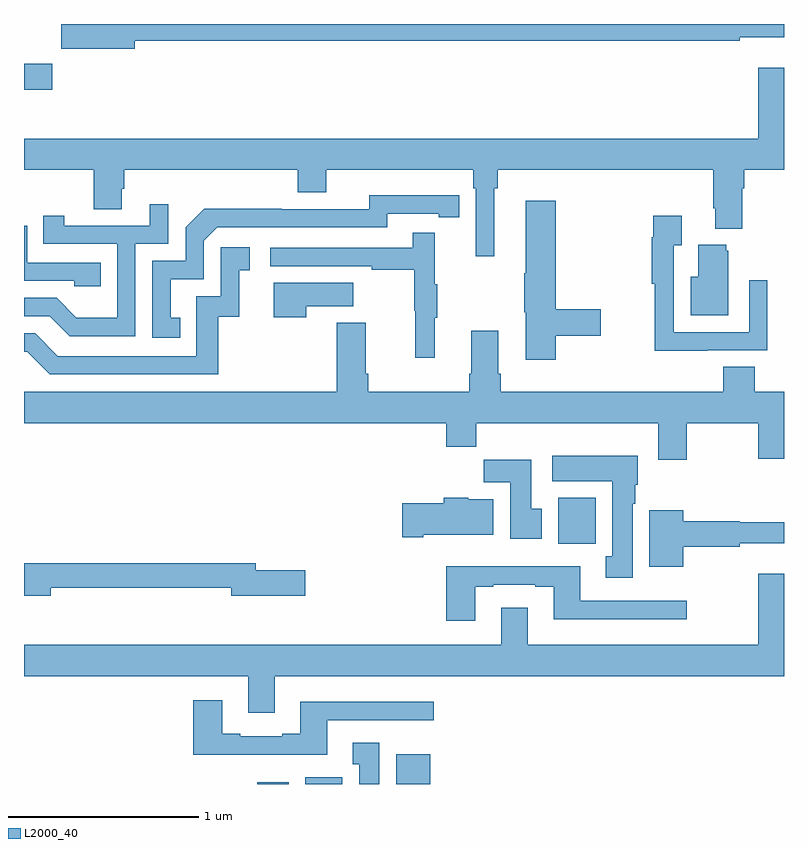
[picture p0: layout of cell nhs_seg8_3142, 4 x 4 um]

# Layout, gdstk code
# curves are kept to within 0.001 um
import gdstk
lib = gdstk.Library(unit=1e-6, precision=1e-09)
def R(c, l, rs):  # rectangles x0, y0, x1, y1
    for r in rs: c.add(gdstk.rectangle(r[:2], r[2:], *l))
def P(c, l, *ps):  # polygons
    for p in ps: c.add(gdstk.Polygon(p, *l))
L2000_40 = (2000, 40)

nhs_seg8_3142 = lib.new_cell('nhs_seg8_3142')
R(nhs_seg8_3142, L2000_40, [(306.227,1147.9,306.394,1147.909), (306.479,1147.9,306.676,1147.936), (306.959,1147.9,307.138,1148.056), (307.811,1149.164,308.008,1149.406), (305,1151.555,305.149,1151.69)])
P(nhs_seg8_3142, L2000_40, [(305.584,1151.812),(308.768,1151.812),(308.768,1151.831),(309,1151.831),(309,1151.9),(305.196,1151.9),(305.196,1151.77),(305.584,1151.77)],
  [(307.474,1151.036),(307.493,1151.036),(307.493,1151.132),(308.627,1151.132),(308.627,1150.93),(308.639,1150.93),(308.639,1150.823),(308.779,1150.823),(308.779,1151.036),(308.792,1151.036),(308.792,1151.132),(309,1151.132),(309,1151.671),(308.864,1151.671),(308.864,1151.296),(305,1151.296),(305,1151.132),(305.368,1151.132),(305.368,1150.924),(305.515,1150.924),(305.515,1151.034),(305.528,1151.034),(305.528,1151.132),(306.44,1151.132),(306.44,1151.015),(306.592,1151.015),(306.592,1151.132),(307.364,1151.132),(307.364,1151.036),(307.377,1151.036),(307.377,1150.677),(307.474,1150.677)],
  [(305.822,1150.353),(305.773,1150.353),(305.773,1150.557),(305.946,1150.557),(305.946,1150.758),(306.018,1150.83),(306.912,1150.83),(306.912,1150.902),(307.184,1150.902),(307.184,1150.882),(307.292,1150.882),(307.292,1150.998),(306.816,1150.999),(306.816,1150.926),(306.356,1150.926),(306.356,1150.928),(305.948,1150.928),(305.85,1150.83),(305.85,1150.653),(305.676,1150.653),(305.676,1150.248),(305.822,1150.248)],
  [(307.799,1150.258),(308.035,1150.258),(308.035,1150.4),(307.799,1150.4),(307.799,1150.969),(307.64,1150.969),(307.64,1150.589),(307.633,1150.589),(307.633,1150.383),(307.64,1150.383),(307.64,1150.134),(307.799,1150.134)],
  [(305.586,1150.743),(305.76,1150.743),(305.76,1150.951),(305.663,1150.951),(305.663,1150.839),(305.212,1150.839),(305.212,1150.891),(305.101,1150.891),(305.101,1150.743),(305.49,1150.743),(305.49,1150.354),(305.276,1150.354),(305.172,1150.458),(305,1150.458),(305,1150.362),(305.135,1150.362),(305.24,1150.257),(305.586,1150.257)],
  [(308.597,1150.182),(308.913,1150.182),(308.913,1150.552),(308.817,1150.552),(308.817,1150.278),(308.421,1150.278),(308.421,1150.735),(308.461,1150.735),(308.461,1150.891),(308.313,1150.891),(308.313,1150.778),(308.305,1150.778),(308.305,1150.532),(308.32,1150.532),(308.32,1150.181),(308.597,1150.181)],
  [(305.405,1150.644),(305.016,1150.644),(305.016,1150.839),(305,1150.839),(305,1150.548),(305.265,1150.548),(305.265,1150.521),(305.405,1150.521)],
  [(307.163,1150.355),(307.174,1150.355),(307.174,1150.529),(307.163,1150.529),(307.163,1150.801),(307.045,1150.801),(307.045,1150.722),(306.297,1150.722),(306.297,1150.626),(306.829,1150.626),(306.829,1150.606),(307.053,1150.606),(307.053,1150.392),(307.06,1150.392),(307.06,1150.143),(307.163,1150.143)],
  [(308.707,1150.707),(308.696,1150.707),(308.696,1150.738),(308.549,1150.738),(308.549,1150.57),(308.51,1150.57),(308.51,1150.367),(308.707,1150.367)],
  [(306.023,1150.359),(306.134,1150.359),(306.134,1150.605),(306.187,1150.605),(306.187,1150.726),(306.036,1150.726),(306.036,1150.467),(305.907,1150.467),(305.907,1150.152),(305.178,1150.152),(305.058,1150.272),(305,1150.272),(305,1150.176),(305.016,1150.176),(305.136,1150.056),(306.023,1150.056)],
  [(306.485,1150.415),(306.733,1150.415),(306.733,1150.537),(306.314,1150.537),(306.314,1150.356),(306.485,1150.356)],
  [(308.487,1149.8),(308.864,1149.8),(308.864,1149.612),(309,1149.612),(309,1149.964),(308.846,1149.964),(308.846,1150.097),(308.681,1150.097),(308.681,1149.964),(307.508,1149.964),(307.508,1150.06),(307.495,1150.06),(307.495,1150.285),(307.355,1150.285),(307.355,1150.06),(307.343,1150.06),(307.343,1149.964),(306.812,1149.964),(306.812,1150.06),(306.799,1150.06),(306.799,1150.327),(306.647,1150.327),(306.647,1149.964),(305,1149.964),(305,1149.8),(307.223,1149.8),(307.223,1149.676),(307.379,1149.676),(307.379,1149.8),(308.339,1149.8),(308.339,1149.606),(308.487,1149.606)],
  [(308.203,1149.374),(308.218,1149.374),(308.218,1149.474),(308.23,1149.474),(308.23,1149.628),(307.779,1149.628),(307.779,1149.494),(308.096,1149.494),(308.096,1149.098),(308.063,1149.098),(308.063,1148.985),(308.203,1148.985)],
  [(307.726,1149.348),(307.669,1149.348),(307.669,1149.607),(307.42,1149.607),(307.42,1149.488),(307.559,1149.488),(307.559,1149.192),(307.726,1149.192)],
  [(307.102,1149.212),(307.471,1149.212),(307.471,1149.4),(307.338,1149.4),(307.338,1149.406),(307.208,1149.406),(307.208,1149.378),(306.99,1149.378),(306.99,1149.2),(307.102,1149.2)],
  [(308.47,1149.148),(308.768,1149.148),(308.768,1149.167),(309,1149.167),(309,1149.277),(308.766,1149.277),(308.766,1149.284),(308.47,1149.284),(308.47,1149.34),(308.291,1149.34),(308.291,1149.044),(308.47,1149.044)],
  [(305.14,1148.934),(306.092,1148.934),(306.092,1148.891),(306.481,1148.891),(306.481,1149.026),(306.22,1149.026),(306.22,1149.062),(305,1149.062),(305,1148.891),(305.14,1148.891)],
  [(307.375,1148.937),(307.471,1148.937),(307.471,1148.949),(307.691,1148.949),(307.691,1148.937),(307.787,1148.937),(307.787,1148.768),(308.488,1148.768),(308.488,1148.865),(307.927,1148.865),(307.927,1149.046),(307.223,1149.046),(307.223,1148.76),(307.375,1148.76)],
  [(306.319,1148.468),(309,1148.468),(309,1149.007),(308.864,1149.007),(308.864,1148.632),(307.651,1148.632),(307.651,1148.827),(307.511,1148.827),(307.511,1148.632),(305,1148.632),(305,1148.468),(306.179,1148.468),(306.179,1148.274),(306.319,1148.274)],
  [(306.595,1148.235),(307.156,1148.235),(307.156,1148.332),(306.455,1148.332),(306.455,1148.164),(306.359,1148.164),(306.359,1148.151),(306.139,1148.151),(306.139,1148.164),(306.043,1148.164),(306.043,1148.341),(305.891,1148.341),(305.891,1148.054),(306.595,1148.054)],
  [(306.871,1148.116),(306.731,1148.116),(306.731,1148.003),(306.764,1148.003),(306.764,1147.9),(306.871,1147.9)])

lib.write_gds('nhs_seg8_3142.gds')
